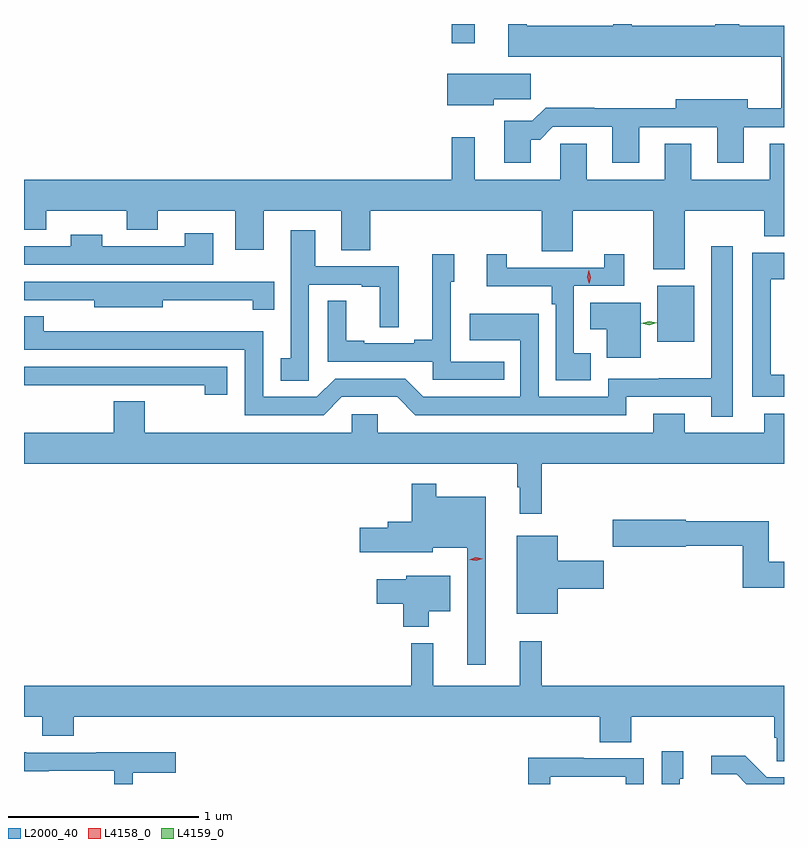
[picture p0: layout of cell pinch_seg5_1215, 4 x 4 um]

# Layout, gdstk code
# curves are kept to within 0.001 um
import gdstk
lib = gdstk.Library(unit=1e-6, precision=1e-09)
def R(c, l, rs):  # rectangles x0, y0, x1, y1
    for r in rs: c.add(gdstk.rectangle(r[:2], r[2:], *l))
def P(c, l, *ps):  # polygons
    for p in ps: c.add(gdstk.Polygon(p, *l))
L2000_40 = (2000, 40)
L4158_0 = (4158, 0)
L4159_0 = (4159, 0)

pinch_seg5_1215 = lib.new_cell('pinch_seg5_1215')
R(pinch_seg5_1215, L2000_40, [(435.968,890.702,436.162,890.998), (434.886,892.275,435.007,892.375)])
P(pinch_seg5_1215, L2000_40, [(435.301,891.767),(435.35,891.767),(435.417,891.834),(435.731,891.834),(435.731,891.645),(435.871,891.645),(435.871,891.831),(436.283,891.831),(436.283,891.645),(436.423,891.645),(436.423,891.831),(436.634,891.831),(436.634,892.366),(436.399,892.366),(436.399,892.375),(436.271,892.375),(436.271,892.366),(435.832,892.366),(435.832,892.375),(435.734,892.375),(435.734,892.366),(435.28,892.366),(435.28,892.375),(435.182,892.375),(435.182,892.202),(436.619,892.202),(436.619,891.932),(436.444,891.932),(436.444,891.979),(436.064,891.979),(436.064,891.932),(435.635,891.932),(435.635,891.935),(435.38,891.935),(435.31,891.865),(435.161,891.865),(435.161,891.645),(435.301,891.645)],
  [(435.106,891.979),(435.301,891.979),(435.301,892.114),(434.862,892.114),(434.862,891.947),(435.106,891.947)],
  [(436.111,891.392),(436.529,891.392),(436.529,891.257),(436.634,891.257),(436.634,891.746),(436.559,891.746),(436.559,891.556),(436.147,891.556),(436.147,891.746),(436.007,891.746),(436.007,891.556),(435.595,891.556),(435.595,891.746),(435.456,891.746),(435.456,891.556),(435.007,891.556),(435.007,891.778),(434.886,891.778),(434.886,891.556),(432.634,891.556),(432.634,891.293),(432.751,891.293),(432.751,891.392),(433.175,891.392),(433.175,891.293),(433.339,891.293),(433.339,891.392),(433.745,891.392),(433.745,891.186),(433.897,891.186),(433.897,891.392),(434.303,891.392),(434.303,891.184),(434.456,891.184),(434.456,891.392),(435.359,891.392),(435.359,891.18),(435.523,891.18),(435.523,891.392),(435.947,891.392),(435.947,891.083),(436.111,891.083)],
  [(434.133,891.003),(434.411,891.003),(434.411,890.991),(434.507,890.991),(434.507,890.779),(434.606,890.779),(434.606,891.099),(434.167,891.099),(434.167,891.289),(434.037,891.289),(434.037,890.616),(433.986,890.616),(433.986,890.497),(434.133,890.497)],
  [(433.63,891.274),(433.481,891.274),(433.481,891.204),(433.045,891.204),(433.045,891.265),(432.881,891.265),(432.881,891.204),(432.634,891.204),(432.634,891.108),(433.63,891.108)],
  [(436.363,891.205),(436.25,891.205),(436.25,890.51),(435.976,890.51),(435.976,890.508),(435.708,890.508),(435.708,890.412),(435.342,890.412),(435.342,890.851),(434.979,890.851),(434.979,890.711),(435.246,890.711),(435.246,890.412),(434.736,890.412),(434.64,890.508),(434.271,890.508),(434.175,890.412),(433.893,890.412),(433.893,890.758),(432.737,890.757),(432.737,890.837),(432.634,890.837),(432.634,890.661),(433.797,890.661),(433.797,890.316),(434.211,890.316),(434.307,890.412),(434.598,890.412),(434.694,890.316),(435.805,890.316),(435.805,890.412),(436.25,890.412),(436.25,890.309),(436.363,890.309)],
  [(436.634,890.528),(436.564,890.528),(436.564,891.032),(436.634,891.032),(436.634,891.172),(436.467,891.172),(436.467,890.412),(436.634,890.412)],
  [(435.161,890.598),(434.88,890.598),(434.88,891.018),(434.899,891.018),(434.899,891.163),(434.783,891.163),(434.783,890.714),(434.687,890.714),(434.687,890.694),(434.425,890.694),(434.425,890.707),(434.33,890.707),(434.33,890.918),(434.232,890.918),(434.232,890.598),(434.784,890.598),(434.784,890.502),(435.161,890.502)],
  [(435.616,890.641),(435.528,890.641),(435.528,890.997),(435.793,890.997),(435.793,891.163),(435.687,891.163),(435.687,891.093),(435.174,891.093),(435.174,891.163),(435.069,891.163),(435.069,890.996),(435.412,890.996),(435.412,890.9),(435.432,890.9),(435.432,890.501),(435.616,890.501)],
  [(433.952,891.019),(433.717,891.019),(433.717,891.018),(432.634,891.018),(432.634,890.922),(433.004,890.922),(433.004,890.885),(433.363,890.885),(433.363,890.921),(433.838,890.921),(433.838,890.871),(433.952,890.871)],
  [(435.88,890.908),(435.613,890.908),(435.613,890.768),(435.701,890.768),(435.701,890.618),(435.88,890.618)],
  [(433.705,890.571),(432.634,890.571),(432.634,890.473),(433.01,890.473),(433.01,890.475),(433.366,890.475),(433.366,890.473),(433.584,890.473),(433.584,890.424),(433.705,890.424)],
  [(435.359,890.06),(436.634,890.06),(436.634,890.323),(436.529,890.323),(436.529,890.224),(436.111,890.224),(436.111,890.323),(435.947,890.323),(435.947,890.224),(434.497,890.224),(434.497,890.322),(434.358,890.322),(434.358,890.224),(433.27,890.224),(433.27,890.39),(433.106,890.39),(433.106,890.224),(432.634,890.224),(432.634,890.06),(435.231,890.06),(435.231,889.937),(435.242,889.937),(435.242,889.797),(435.359,889.797)],
  [(435.064,889.888),(434.803,889.888),(434.803,889.954),(434.674,889.954),(434.674,889.755),(434.549,889.755),(434.549,889.725),(434.4,889.725),(434.4,889.595),(434.784,889.595),(434.784,889.619),(434.967,889.619),(434.967,889.002),(435.064,889.002)],
  [(436.634,889.544),(436.553,889.544),(436.553,889.759),(436.116,889.759),(436.116,889.767),(435.732,889.767),(435.732,889.625),(436.116,889.625),(436.116,889.63),(436.417,889.63),(436.417,889.408),(436.634,889.408)],
  [(435.442,889.403),(435.685,889.403),(435.685,889.55),(435.442,889.55),(435.442,889.681),(435.227,889.681),(435.227,889.271),(435.442,889.271)],
  [(434.764,889.283),(434.878,889.283),(434.878,889.471),(434.646,889.471),(434.646,889.453),(434.49,889.453),(434.49,889.324),(434.63,889.324),(434.63,889.202),(434.764,889.202)],
  [(436.634,888.892),(435.359,888.892),(435.359,889.126),(435.242,889.126),(435.242,888.892),(434.789,888.892),(434.789,889.117),(434.671,889.117),(434.671,888.892),(432.634,888.892),(432.634,888.728),(432.731,888.728),(432.731,888.629),(432.896,888.629),(432.896,888.728),(435.665,888.728),(435.665,888.595),(435.83,888.595),(435.83,888.728),(436.583,888.728),(436.583,888.619),(436.596,888.619),(436.596,888.496),(436.634,888.496)],
  [(436.086,888.402),(436.105,888.402),(436.105,888.547),(435.99,888.547),(435.99,888.375),(436.086,888.375)],
  [(433.206,888.434),(433.432,888.434),(433.432,888.542),(433.013,888.542),(433.013,888.54),(432.647,888.54),(432.647,888.542),(432.634,888.542),(432.634,888.443),(432.764,888.443),(432.764,888.444),(433.11,888.444),(433.11,888.375),(433.206,888.375)],
  [(436.634,888.411),(436.542,888.411),(436.429,888.524),(436.251,888.524),(436.251,888.426),(436.385,888.426),(436.436,888.375),(436.634,888.375)],
  [(435.405,888.414),(435.801,888.414),(435.801,888.375),(435.897,888.375),(435.897,888.51),(435.581,888.51),(435.581,888.512),(435.289,888.512),(435.289,888.375),(435.405,888.375)])
P(pinch_seg5_1215, L4158_0, [(435.608,891.007),(435.608,891.007),(435.598,891.043),(435.607,891.079),(435.607,891.079),(435.607,891.079),(435.618,891.043),(435.608,891.007)],
  [(435.014,889.549),(434.977,889.556),(434.977,889.556),(434.977,889.556),(435.012,889.569),(435.048,889.561),(435.048,889.561),(435.048,889.561)])
P(pinch_seg5_1215, L4159_0, [(435.925,890.79),(435.883,890.799),(435.883,890.799),(435.883,890.799),(435.924,890.81),(435.965,890.802),(435.965,890.802),(435.965,890.802)])

lib.write_gds('pinch_seg5_1215.gds')
